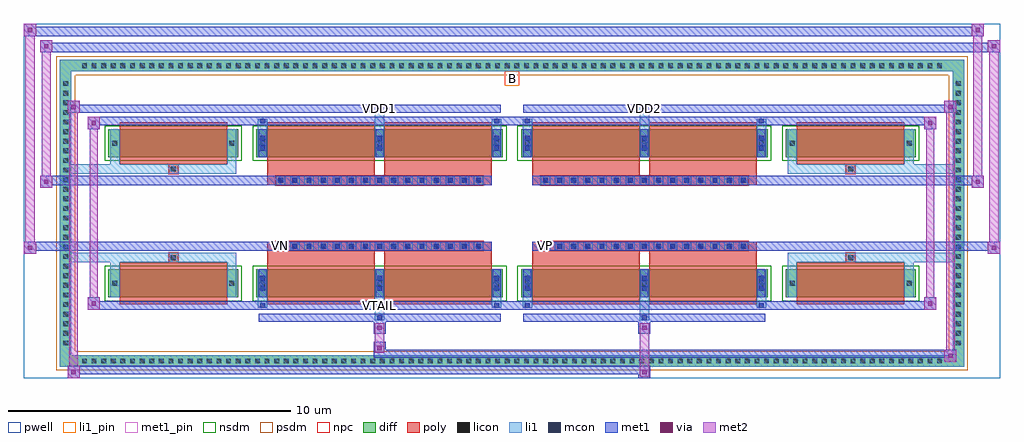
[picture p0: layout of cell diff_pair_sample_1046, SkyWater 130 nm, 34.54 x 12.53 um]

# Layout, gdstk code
import gdstk
lib = gdstk.Library(unit=1e-6, precision=5e-09)
def R(c, l, rs):  # rectangles x0, y0, x1, y1
    for r in rs: c.add(gdstk.rectangle(r[:2], r[2:], *l))
def A(c, l, x, y, w, h, nx, ny, dx, dy):  # array of equal rectangles
    R(c, l, [(x+i*dx, y+j*dy, x+i*dx+w, y+j*dy+h) for i in range(nx) for j in range(ny)])
def P(c, l, *ps):  # polygons
    for p in ps: c.add(gdstk.Polygon(p, *l))
pwell = (64, 44)
diff = (65, 20)
poly = (66, 20)
licon = (66, 44)
li1_pin = (67, 16)
li1 = (67, 20)
mcon = (67, 44)
met1_pin = (68, 16)
met1 = (68, 20)
via = (68, 44)
met2 = (69, 20)
nsdm = (93, 44)
psdm = (94, 20)
npc = (95, 20)

diff_pair_sample_1046 = lib.new_cell('diff_pair_sample_1046')
R(diff_pair_sample_1046, pwell, [(-17.27,-5.83,17.27,6.7), (-14.59,-4.02,-0.01,-0.8), (0.01,-4.02,14.59,-0.8), (-14.59,0.8,-0.01,4.02), (0.01,0.8,14.59,4.02)])
A(diff_pair_sample_1046, diff, -15.335, -5.43, 0.41, 0.41, 90, 2, 0.34, 10.45)
A(diff_pair_sample_1046, diff, -16, -4.795, 0.41, 0.41, 1, 28, 0, 0.34)
A(diff_pair_sample_1046, diff, 15.59, -4.795, 0.41, 0.41, 1, 28, 0, 0.34)
R(diff_pair_sample_1046, diff, [(-15.335,-5.43,15.335,-5.02), (-16,-4.795,-15.59,4.795), (15.59,-4.795,16,4.795), (-14.28,-2.975,-9.69,-1.985), (-9.05,-2.975,-0.32,-1.985), (0.32,-2.975,9.05,-1.985), (9.69,-2.975,14.28,-1.985), (-14.28,1.985,-9.69,2.975), (-9.05,1.985,-0.32,2.975), (0.32,1.985,9.05,2.975), (9.69,1.985,14.28,2.975), (-15.335,5.02,15.335,5.43)])
P(diff_pair_sample_1046, diff, [(16,5.43),(-16,5.43),(-16,-5.02),(-15.59,-5.02),(-15.59,5.02),(15.59,5.02),(15.59,-5.02),(-15.59,-5.02),(-16,-5.02),(-16,-5.43),(16,-5.43)])
A(diff_pair_sample_1046, poly, -8.35, -1.33, 0.33, 0.33, 15, 2, 0.5, 2.33)
A(diff_pair_sample_1046, poly, 1.02, -1.33, 0.33, 0.33, 15, 2, 0.5, 2.33)
R(diff_pair_sample_1046, poly, [(-13.89,-3.225,-10.08,-1.735), (-8.66,-3.225,-4.85,-1.735), (-4.52,-3.225,-0.71,-1.735), (0.71,-3.225,4.52,-1.735), (4.85,-3.225,8.66,-1.735), (10.08,-3.225,13.89,-1.735), (-12.15,-1.735,-11.82,-1.405), (-12.15,-1.735,-11.82,-1.405), (-8.66,-1.735,-4.85,-1.33), (-4.52,-1.735,-0.71,-1.33), (0.71,-1.735,4.52,-1.33), (4.85,-1.735,8.66,-1.33), (11.82,-1.735,12.15,-1.405), (11.82,-1.735,12.15,-1.405), (-8.66,-1.33,-0.71,-1), (0.71,-1.33,8.66,-1), (-8.66,1,-0.71,1.33), (0.71,1,8.66,1.33), (-8.66,1.33,-4.85,1.735), (-4.52,1.33,-0.71,1.735), (0.71,1.33,4.52,1.735), (4.85,1.33,8.66,1.735), (-12.15,1.405,-11.82,1.735), (-12.15,1.405,-11.82,1.735), (11.82,1.405,12.15,1.735), (11.82,1.405,12.15,1.735), (-13.89,1.735,-10.08,3.225), (-8.66,1.735,-4.85,3.225), (-4.52,1.735,-0.71,3.225), (0.71,1.735,4.52,3.225), (4.85,1.735,8.66,3.225), (10.08,1.735,13.89,3.225)])
A(diff_pair_sample_1046, licon, -15.215, -5.31, 0.17, 0.17, 90, 2, 0.34, 10.45)
A(diff_pair_sample_1046, licon, -15.88, -4.675, 0.17, 0.17, 1, 28, 0, 0.34)
A(diff_pair_sample_1046, licon, 15.71, -4.675, 0.17, 0.17, 1, 28, 0, 0.34)
A(diff_pair_sample_1046, licon, -8.91, -2.565, 0.17, 0.17, 3, 2, 4.14, 4.96)
A(diff_pair_sample_1046, licon, 0.46, -2.565, 0.17, 0.17, 3, 2, 4.14, 4.96)
A(diff_pair_sample_1046, licon, -8.27, -1.25, 0.17, 0.17, 15, 2, 0.5, 2.33)
A(diff_pair_sample_1046, licon, 1.1, -1.25, 0.17, 0.17, 15, 2, 0.5, 2.33)
R(diff_pair_sample_1046, licon, [(-14.14,-2.565,-13.97,-2.395), (-10,-2.565,-9.83,-2.395), (9.83,-2.565,10,-2.395), (13.97,-2.565,14.14,-2.395), (-12.07,-1.655,-11.9,-1.485), (11.9,-1.655,12.07,-1.485), (-12.07,1.485,-11.9,1.655), (11.9,1.485,12.07,1.655), (-14.14,2.395,-13.97,2.565), (-10,2.395,-9.83,2.565), (9.83,2.395,10,2.565), (13.97,2.395,14.14,2.565)])
R(diff_pair_sample_1046, li1_pin, [(-0.25,4.52,0.25,5.02)])
A(diff_pair_sample_1046, li1, -15.295, -5.39, 0.33, 0.33, 90, 2, 0.34, 10.45)
A(diff_pair_sample_1046, li1, -15.96, -4.755, 0.33, 0.33, 1, 28, 0, 0.34)
A(diff_pair_sample_1046, li1, 15.63, -4.755, 0.33, 0.33, 1, 28, 0, 0.34)
A(diff_pair_sample_1046, li1, -8.99, -2.975, 0.33, 0.99, 3, 2, 4.14, 4.96)
A(diff_pair_sample_1046, li1, 0.38, -2.975, 0.33, 0.99, 3, 2, 4.14, 4.96)
A(diff_pair_sample_1046, li1, -8.91, -2.745, 0.17, 0.17, 3, 2, 4.14, 0.36)
A(diff_pair_sample_1046, li1, -8.91, -2.745, 0.17, 0.53, 3, 2, 4.14, 4.96)
A(diff_pair_sample_1046, li1, 0.46, -2.745, 0.17, 0.17, 3, 2, 4.14, 0.36)
A(diff_pair_sample_1046, li1, 0.46, -2.745, 0.17, 0.53, 3, 2, 4.14, 4.96)
A(diff_pair_sample_1046, li1, -8.99, -2.645, 0.33, 0.33, 3, 2, 4.14, 4.96)
A(diff_pair_sample_1046, li1, 0.38, -2.645, 0.33, 0.33, 3, 2, 4.14, 4.96)
A(diff_pair_sample_1046, li1, -8.35, -1.33, 0.33, 0.33, 15, 2, 0.5, 2.33)
A(diff_pair_sample_1046, li1, 1.02, -1.33, 0.33, 0.33, 15, 2, 0.5, 2.33)
A(diff_pair_sample_1046, li1, -8.91, 2.215, 0.17, 0.17, 3, 2, 4.14, 0.36)
A(diff_pair_sample_1046, li1, 0.46, 2.215, 0.17, 0.17, 3, 2, 4.14, 0.36)
R(diff_pair_sample_1046, li1, [(-16,-5.43,-15.59,-5.02), (-16,-5.43,-15.59,-5.02), (-15.59,-5.43,15.59,-5.02), (15.59,-5.43,16,-5.02), (15.59,-5.43,16,-5.02), (-16,-5.02,-15.59,5.02), (15.59,-5.02,16,5.02), (-4.85,-3.78,-4.52,-2.975), (-4.77,-3.78,-4.6,-3.61), (4.52,-3.78,4.85,-2.975), (4.6,-3.78,4.77,-3.61), (-8.99,-3.35,-8.66,-2.975), (-8.91,-3.35,-8.74,-3.18), (-0.71,-3.35,-0.38,-2.975), (-0.63,-3.35,-0.46,-3.18), (0.38,-3.35,0.71,-2.975), (0.46,-3.35,0.63,-3.18), (8.66,-3.35,8.99,-2.975), (8.74,-3.35,8.91,-3.18), (-14.22,-2.975,-13.89,-1.985), (-10.08,-2.975,-9.75,-1.985), (9.75,-2.975,10.08,-1.985), (13.89,-2.975,14.22,-1.985), (-14.22,-2.645,-13.89,-2.315), (-10.08,-2.645,-9.75,-2.315), (9.75,-2.645,10.08,-2.315), (13.89,-2.645,14.22,-2.315), (-14.22,-1.985,-13.89,-1.405), (-10.08,-1.985,-9.75,-1.405), (9.75,-1.985,10.08,-1.405), (13.89,-1.985,14.22,-1.405), (-16,-1.735,-12.15,-1.405), (-14.22,-1.735,-12.15,-1.405), (-12.15,-1.735,-11.82,-1.405), (-11.82,-1.735,-9.75,-1.405), (9.75,-1.735,11.82,-1.405), (11.82,-1.735,12.15,-1.405), (11.82,-1.735,16,-1.405), (12.15,-1.735,14.22,-1.405), (-16,1.405,-12.15,1.735), (-14.22,1.405,-12.15,1.735), (-14.22,1.405,-13.89,1.985), (-12.15,1.405,-11.82,1.735), (-11.82,1.405,-9.75,1.735), (-10.08,1.405,-9.75,1.985), (9.75,1.405,11.82,1.735), (9.75,1.405,10.08,1.985), (11.82,1.405,12.15,1.735), (11.82,1.405,16,1.735), (12.15,1.405,14.22,1.735), (13.89,1.405,14.22,1.985), (-14.22,1.985,-13.89,2.975), (-10.08,1.985,-9.75,2.975), (9.75,1.985,10.08,2.975), (13.89,1.985,14.22,2.975), (-14.22,2.315,-13.89,2.645), (-10.08,2.315,-9.75,2.645), (9.75,2.315,10.08,2.645), (13.89,2.315,14.22,2.645), (-8.99,2.975,-8.66,3.35), (-4.85,2.975,-4.52,3.78), (-0.71,2.975,-0.38,3.35), (0.38,2.975,0.71,3.35), (4.52,2.975,4.85,3.78), (8.66,2.975,8.99,3.35), (-8.91,3.18,-8.74,3.35), (-0.63,3.18,-0.46,3.35), (0.46,3.18,0.63,3.35), (8.74,3.18,8.91,3.35), (-4.77,3.61,-4.6,3.78), (4.6,3.61,4.77,3.78), (-16,5.02,-15.59,5.43), (-16,5.02,-15.59,5.43), (-15.59,5.02,15.59,5.43), (15.59,5.02,16,5.43), (15.59,5.02,16,5.43)])
A(diff_pair_sample_1046, mcon, -8.91, -2.745, 0.17, 0.17, 3, 2, 4.14, 0.36)
A(diff_pair_sample_1046, mcon, 0.46, -2.745, 0.17, 0.17, 3, 2, 4.14, 0.36)
A(diff_pair_sample_1046, mcon, -8.27, -1.25, 0.17, 0.17, 15, 2, 0.5, 2.33)
A(diff_pair_sample_1046, mcon, 1.1, -1.25, 0.17, 0.17, 15, 2, 0.5, 2.33)
A(diff_pair_sample_1046, mcon, -8.91, 2.215, 0.17, 0.17, 3, 2, 4.14, 0.36)
A(diff_pair_sample_1046, mcon, 0.46, 2.215, 0.17, 0.17, 3, 2, 4.14, 0.36)
R(diff_pair_sample_1046, mcon, [(-4.77,-3.78,-4.6,-3.61), (4.6,-3.78,4.77,-3.61), (-8.91,-3.35,-8.74,-3.18), (-0.63,-3.35,-0.46,-3.18), (0.46,-3.35,0.63,-3.18), (8.74,-3.35,8.91,-3.18), (-8.91,3.18,-8.74,3.35), (-0.63,3.18,-0.46,3.35), (0.46,3.18,0.63,3.35), (8.74,3.18,8.91,3.35), (-4.77,3.61,-4.6,3.78), (4.6,3.61,4.77,3.78)])
R(diff_pair_sample_1046, met1_pin, [(-4.82,-3.39,-4.55,-3.12), (-8.32,-1.29,-8.05,-1.02), (1.05,-1.29,1.32,-1.02), (-4.82,3.57,-4.55,3.84), (4.55,3.57,4.82,3.84)])
A(diff_pair_sample_1046, met1, -8.97, -2.975, 0.29, 0.99, 3, 2, 4.14, 4.96)
A(diff_pair_sample_1046, met1, 0.4, -2.975, 0.29, 0.99, 3, 2, 4.14, 4.96)
A(diff_pair_sample_1046, met1, -8.97, -2.805, 0.29, 0.29, 3, 2, 4.14, 0.36)
A(diff_pair_sample_1046, met1, 0.4, -2.805, 0.29, 0.29, 3, 2, 4.14, 0.36)
A(diff_pair_sample_1046, met1, -8.33, -1.31, 0.29, 0.29, 15, 2, 0.5, 2.33)
A(diff_pair_sample_1046, met1, 1.04, -1.31, 0.29, 0.29, 15, 2, 0.5, 2.33)
A(diff_pair_sample_1046, met1, -8.97, 2.155, 0.29, 0.29, 3, 2, 4.14, 0.36)
A(diff_pair_sample_1046, met1, 0.4, 2.155, 0.29, 0.29, 3, 2, 4.14, 0.36)
R(diff_pair_sample_1046, met1, [(-15.73,-5.83,-15.3,-5.4), (4.47,-5.83,4.9,-5.4), (-15.73,-5.69,4.9,-5.4), (15.3,-5.26,15.73,-4.83), (-4.9,-5.12,15.73,-4.83), (-4.9,-4.98,-4.47,-4.55), (-4.9,-4.27,-4.47,-3.84), (4.47,-4.27,4.9,-3.84), (-8.97,-3.84,-0.4,-3.55), (-4.83,-3.84,-4.54,-3.55), (0.4,-3.84,8.97,-3.55), (4.54,-3.84,4.83,-3.55), (-15.02,-3.41,-14.59,-2.98), (-15.02,-3.41,-8.97,-3.12), (-8.97,-3.41,-8.68,-3.12), (-8.97,-3.41,-0.4,-3.12), (-0.69,-3.41,-0.4,-3.12), (-0.4,-3.41,0.4,-3.12), (0.4,-3.41,0.69,-3.12), (0.4,-3.41,8.97,-3.12), (8.68,-3.41,8.97,-3.12), (8.97,-3.41,15.02,-3.12), (14.59,-3.41,15.02,-2.98), (-17.27,-1.43,-16.84,-1), (16.84,-1.43,17.27,-1), (-17.27,-1.33,-0.71,-1), (-8.66,-1.33,-0.71,-1), (0.71,-1.33,8.66,-1), (0.71,-1.33,17.27,-1), (-16.7,0.9,-16.27,1.33), (16.27,0.9,16.7,1.33), (-16.7,1,-8.66,1.33), (-8.66,1,-0.71,1.33), (0.71,1,8.66,1.33), (8.66,1,16.7,1.33), (-15.02,2.98,-14.59,3.41), (14.59,2.98,15.02,3.41), (-15.02,3.12,-8.97,3.41), (-8.97,3.12,-8.68,3.41), (-8.97,3.12,-0.4,3.41), (-0.69,3.12,-0.4,3.41), (-0.4,3.12,0.4,3.41), (0.4,3.12,0.69,3.41), (0.4,3.12,8.97,3.41), (8.68,3.12,8.97,3.41), (8.97,3.12,15.02,3.41), (-15.73,3.55,-15.3,3.98), (-15.73,3.55,-8.97,3.84), (-8.97,3.55,-0.4,3.84), (-4.83,3.55,-4.54,3.84), (0.4,3.55,8.97,3.84), (4.54,3.55,4.83,3.84), (8.97,3.55,15.73,3.84), (15.3,3.55,15.73,3.98), (-16.7,5.7,-16.27,6.13), (-16.7,5.7,-14.59,6.03), (-14.59,5.7,14.59,6.03), (14.59,5.7,17.27,6.03), (16.84,5.7,17.27,6.13), (-17.27,6.27,-16.84,6.7), (-17.27,6.27,-14.59,6.6), (-14.59,6.27,14.59,6.6), (14.59,6.27,16.7,6.6), (16.27,6.27,16.7,6.7)])
R(diff_pair_sample_1046, via, [(-15.59,-5.69,-15.44,-5.54), (4.61,-5.69,4.76,-5.54), (15.44,-5.12,15.59,-4.97), (-4.76,-4.84,-4.61,-4.69), (-4.76,-4.13,-4.61,-3.98), (4.61,-4.13,4.76,-3.98), (-14.88,-3.27,-14.73,-3.12), (14.73,-3.27,14.88,-3.12), (-17.13,-1.29,-16.98,-1.14), (16.98,-1.29,17.13,-1.14), (-16.56,1.04,-16.41,1.19), (16.41,1.04,16.56,1.19), (-14.88,3.12,-14.73,3.27), (14.73,3.12,14.88,3.27), (-15.59,3.69,-15.44,3.84), (15.44,3.69,15.59,3.84), (-16.56,5.84,-16.41,5.99), (16.98,5.84,17.13,5.99), (-17.13,6.41,-16.98,6.56), (16.41,6.41,16.56,6.56)])
R(diff_pair_sample_1046, met2, [(-15.73,-5.83,-15.3,-5.4), (-15.66,-5.83,-15.37,3.98), (-15.37,-5.83,-15.3,-5.4), (-15.68,-5.78,-15.35,-5.45), (4.52,-5.78,4.85,-5.45), (4.52,-5.45,4.85,-4.22), (15.3,-5.26,15.73,-4.83), (15.37,-5.26,15.66,3.98), (15.66,-5.26,15.73,-4.83), (15.35,-5.21,15.68,-4.88), (-4.85,-4.93,-4.52,-4.6), (-4.85,-4.6,-4.52,-4.22), (-4.85,-4.22,-4.52,-3.89), (4.52,-4.22,4.85,-3.89), (-15.02,-3.41,-14.59,-2.98), (-14.95,-3.41,-14.66,3.41), (-14.66,-3.41,-14.59,-2.98), (14.59,-3.41,15.02,-2.98), (14.66,-3.41,14.95,3.41), (14.95,-3.41,15.02,-2.98), (-14.97,-3.36,-14.64,-3.03), (14.64,-3.36,14.97,-3.03), (-17.27,-1.43,-16.84,-1), (-17.22,-1.43,-16.89,6.7), (-16.89,-1.43,-16.84,-1), (16.84,-1.43,17.27,-1), (16.89,-1.43,17.22,6.13), (17.22,-1.43,17.27,-1), (-17.22,-1.38,-16.89,-1.05), (16.89,-1.38,17.22,-1.05), (-16.7,0.9,-16.27,1.33), (-16.65,0.9,-16.32,6.13), (-16.32,0.9,-16.27,1.33), (16.27,0.9,16.7,1.33), (16.32,0.9,16.65,6.7), (16.65,0.9,16.7,1.33), (-16.65,0.95,-16.32,1.28), (16.32,0.95,16.65,1.28), (-15.02,2.98,-14.59,3.41), (-14.66,2.98,-14.59,3.41), (14.59,2.98,15.02,3.41), (14.95,2.98,15.02,3.41), (-14.97,3.03,-14.64,3.36), (14.64,3.03,14.97,3.36), (-15.73,3.55,-15.3,3.98), (-15.37,3.55,-15.3,3.98), (15.3,3.55,15.73,3.98), (15.66,3.55,15.73,3.98), (-15.68,3.6,-15.35,3.93), (15.35,3.6,15.68,3.93), (-16.7,5.7,-16.27,6.13), (-16.32,5.7,-16.27,6.13), (16.84,5.7,17.27,6.13), (17.22,5.7,17.27,6.13), (-16.65,5.75,-16.32,6.08), (16.89,5.75,17.22,6.08), (-17.27,6.27,-16.84,6.7), (-16.89,6.27,-16.84,6.7), (16.27,6.27,16.7,6.7), (16.65,6.27,16.7,6.7), (-17.22,6.32,-16.89,6.65), (16.32,6.32,16.65,6.65)])
R(diff_pair_sample_1046, nsdm, [(-14.41,-3.105,-9.56,-1.855), (-9.18,-3.105,-0.19,-1.855), (0.19,-3.105,9.18,-1.855), (9.56,-3.105,14.41,-1.855), (-14.41,1.855,-9.56,3.105), (-9.18,1.855,-0.19,3.105), (0.19,1.855,9.18,3.105), (9.56,1.855,14.41,3.105)])
P(diff_pair_sample_1046, psdm, [(16.13,5.56),(-16.13,5.56),(-16.13,-4.89),(-15.46,-4.89),(-15.46,4.89),(15.46,4.89),(15.46,-4.89),(-15.46,-4.89),(-16.13,-4.89),(-16.13,-5.56),(16.13,-5.56)])
A(diff_pair_sample_1046, npc, -8.37, -1.35, 0.37, 0.37, 15, 2, 0.5, 2.33)
A(diff_pair_sample_1046, npc, 1, -1.35, 0.37, 0.37, 15, 2, 0.5, 2.33)
R(diff_pair_sample_1046, npc, [(-12.17,-1.755,-11.8,-1.385), (11.8,-1.755,12.17,-1.385), (-8.37,-1.35,-7.5,-0.98), (-8.37,-1.35,-7.5,-0.98), (-7.87,-1.35,-7,-0.98), (-7.87,-1.35,-7,-0.98), (-7.37,-1.35,-6.5,-0.98), (-7.37,-1.35,-6.5,-0.98), (-6.87,-1.35,-6,-0.98), (-6.87,-1.35,-6,-0.98), (-6.37,-1.35,-5.5,-0.98), (-6.37,-1.35,-5.5,-0.98), (-5.87,-1.35,-5,-0.98), (-5.87,-1.35,-5,-0.98), (-5.37,-1.35,-4.5,-0.98), (-5.37,-1.35,-4.5,-0.98), (-4.87,-1.35,-4,-0.98), (-4.87,-1.35,-4,-0.98), (-4.37,-1.35,-3.5,-0.98), (-4.37,-1.35,-3.5,-0.98), (-3.87,-1.35,-3,-0.98), (-3.87,-1.35,-3,-0.98), (-3.37,-1.35,-2.5,-0.98), (-3.37,-1.35,-2.5,-0.98), (-2.87,-1.35,-2,-0.98), (-2.87,-1.35,-2,-0.98), (-2.37,-1.35,-1.5,-0.98), (-2.37,-1.35,-1.5,-0.98), (-1.87,-1.35,-1,-0.98), (-1.87,-1.35,-1,-0.98), (1,-1.35,1.87,-0.98), (1,-1.35,1.87,-0.98), (1.5,-1.35,2.37,-0.98), (1.5,-1.35,2.37,-0.98), (2,-1.35,2.87,-0.98), (2,-1.35,2.87,-0.98), (2.5,-1.35,3.37,-0.98), (2.5,-1.35,3.37,-0.98), (3,-1.35,3.87,-0.98), (3,-1.35,3.87,-0.98), (3.5,-1.35,4.37,-0.98), (3.5,-1.35,4.37,-0.98), (4,-1.35,4.87,-0.98), (4,-1.35,4.87,-0.98), (4.5,-1.35,5.37,-0.98), (4.5,-1.35,5.37,-0.98), (5,-1.35,5.87,-0.98), (5,-1.35,5.87,-0.98), (5.5,-1.35,6.37,-0.98), (5.5,-1.35,6.37,-0.98), (6,-1.35,6.87,-0.98), (6,-1.35,6.87,-0.98), (6.5,-1.35,7.37,-0.98), (6.5,-1.35,7.37,-0.98), (7,-1.35,7.87,-0.98), (7,-1.35,7.87,-0.98), (7.5,-1.35,8.37,-0.98), (7.5,-1.35,8.37,-0.98), (-8.37,0.98,-7.5,1.35), (-8.37,0.98,-7.5,1.35), (-7.87,0.98,-7,1.35), (-7.87,0.98,-7,1.35), (-7.37,0.98,-6.5,1.35), (-7.37,0.98,-6.5,1.35), (-6.87,0.98,-6,1.35), (-6.87,0.98,-6,1.35), (-6.37,0.98,-5.5,1.35), (-6.37,0.98,-5.5,1.35), (-5.87,0.98,-5,1.35), (-5.87,0.98,-5,1.35), (-5.37,0.98,-4.5,1.35), (-5.37,0.98,-4.5,1.35), (-4.87,0.98,-4,1.35), (-4.87,0.98,-4,1.35), (-4.37,0.98,-3.5,1.35), (-4.37,0.98,-3.5,1.35), (-3.87,0.98,-3,1.35), (-3.87,0.98,-3,1.35), (-3.37,0.98,-2.5,1.35), (-3.37,0.98,-2.5,1.35), (-2.87,0.98,-2,1.35), (-2.87,0.98,-2,1.35), (-2.37,0.98,-1.5,1.35), (-2.37,0.98,-1.5,1.35), (-1.87,0.98,-1,1.35), (-1.87,0.98,-1,1.35), (1,0.98,1.87,1.35), (1,0.98,1.87,1.35), (1.5,0.98,2.37,1.35), (1.5,0.98,2.37,1.35), (2,0.98,2.87,1.35), (2,0.98,2.87,1.35), (2.5,0.98,3.37,1.35), (2.5,0.98,3.37,1.35), (3,0.98,3.87,1.35), (3,0.98,3.87,1.35), (3.5,0.98,4.37,1.35), (3.5,0.98,4.37,1.35), (4,0.98,4.87,1.35), (4,0.98,4.87,1.35), (4.5,0.98,5.37,1.35), (4.5,0.98,5.37,1.35), (5,0.98,5.87,1.35), (5,0.98,5.87,1.35), (5.5,0.98,6.37,1.35), (5.5,0.98,6.37,1.35), (6,0.98,6.87,1.35), (6,0.98,6.87,1.35), (6.5,0.98,7.37,1.35), (6.5,0.98,7.37,1.35), (7,0.98,7.87,1.35), (7,0.98,7.87,1.35), (7.5,0.98,8.37,1.35), (7.5,0.98,8.37,1.35), (-12.17,1.385,-11.8,1.755), (11.8,1.385,12.17,1.755)])
diff_pair_sample_1046.add(gdstk.Label('VTAIL', (-4.685,-3.255), layer=68, texttype=5))
diff_pair_sample_1046.add(gdstk.Label('VN', (-8.185,-1.155), layer=68, texttype=5))
diff_pair_sample_1046.add(gdstk.Label('VP', (1.185,-1.155), layer=68, texttype=5))
diff_pair_sample_1046.add(gdstk.Label('B', (0,4.77), layer=67, texttype=5))
diff_pair_sample_1046.add(gdstk.Label('VDD2', (4.685,3.705), layer=68, texttype=5))
diff_pair_sample_1046.add(gdstk.Label('VDD1', (-4.685,3.705), layer=68, texttype=5))

lib.write_gds('diff_pair_sample_1046.gds')
